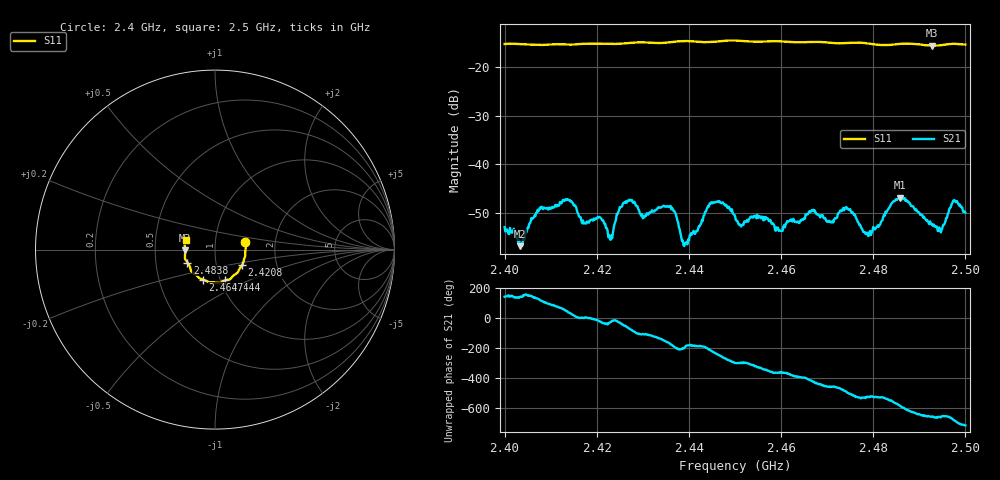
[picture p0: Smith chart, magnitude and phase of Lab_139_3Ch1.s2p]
# Hz S RI R 50
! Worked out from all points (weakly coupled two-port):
!   601 points, 2.4 GHz to 2.5 GHz, reference 50 ohm
!   highest |S21| = -46.82 dB at 2.4858 GHz (marker M1); lowest = -56.8 dB at 2.4033 GHz (marker M2)
!   lowest |S11| = -15.6 dB at 2.4928 GHz (marker M3), VSWR 1.40, Z = 35.8 - j0.348 ohm
!   |S11| at or under -10 dB: start of sweep to end of sweep
!   S12 and S22 are empty: the file has one direction only
!   S11 on the Smith chart (normalised r, x): 2.4 GHz: 1.40, +0.12; 2.4208 GHz: 1.33, -0.24; 2.444 GHz: 1.06, -0.37; 2.4647 GHz: 0.83, -0.29; 2.4838 GHz: 0.73, -0.11; 2.5 GHz: 0.72, +0.08
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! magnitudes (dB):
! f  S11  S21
! 2.4 GHz  -15.3  -52.9
! 2.4033 GHz  -15.3  -56.8
! 2.408 GHz  -15.4  -48.7
! 2.4137 GHz  -15.3  -47.2
! 2.4167 GHz  -15.2  -51.6
! 2.4208 GHz  -15.2  -51.0
! 2.423 GHz  -15.2  -55.5
! 2.4262 GHz  -15.1  -47.9
! 2.4333 GHz  -15.0  -48.9
! 2.4365 GHz  -14.8  -49.3
! 2.4392 GHz  -14.6  -56.2
! 2.444 GHz  -14.9  -48.9
! 2.45 GHz  -14.5  -50.6
! 2.4647 GHz  -14.9  -51.4
! 2.4667 GHz  -14.8  -49.4
! 2.4745 GHz  -15.0  -49.1
! 2.479 GHz  -15.2  -54.7
! 2.4833 GHz  -15.5  -49.1
! 2.4838 GHz  -15.4  -48.2
! 2.4858 GHz  -15.2  -46.8
! 2.4928 GHz  -15.6  -52.3
! 2.5 GHz  -15.4  -49.9
